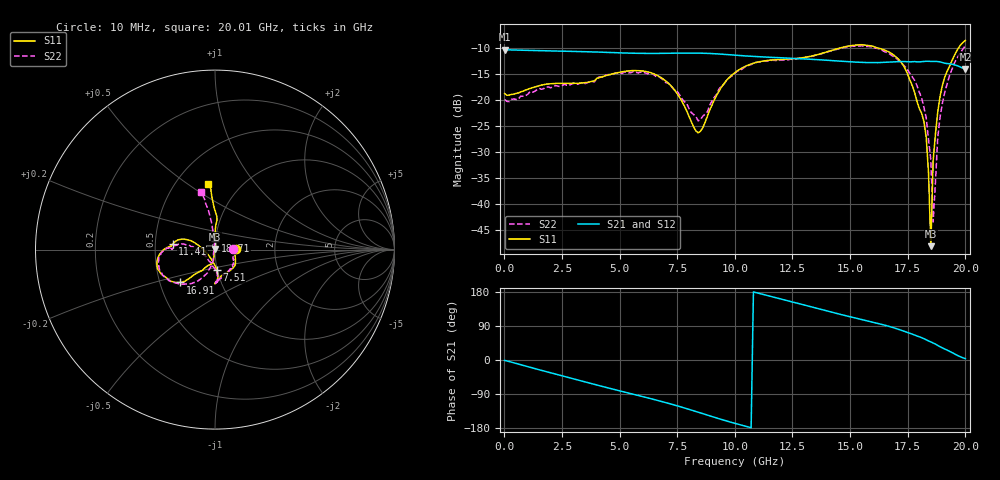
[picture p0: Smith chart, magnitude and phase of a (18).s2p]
! Hittite Microwave Corporation
! 2 Elizabeth Drive
! Chelmsford, MA 01824
! http://www.hittite.com
! Tel: 978-250-3343
! Fax: 978-250-3373
! Device:  HMC424LP3
! Description: 0.5 dB GaAs MMIC 6-Bit Digital Attenuator
! Frequency:  DC -  13.00 GHz
! Package:  LP3  - 3x3 mm Quad Flatpack No-Lead (QFN) Plastic Package: 16 pin
! Ports:  2 RF, 7 DC
!  Pad  1  = Ground
!  Pad  2  = RF IN  = Port 1
!  Pad  3  = Ground
!  Pad  4  = V6
!  Pad  5  = V5
!  Pad  6  = V4
!  Pad  7  = V3
!  Pad  8  = V2
!  Pad  9  = V1
!  Pad 10  = Ground
!  Pad 11  = RF OUT  = Port 2
!  Pad 12  = Ground
!  Pad 15  = VEE
! Control:  -5 Volt control voltage
! State:  16
! Attenuation:  8.0 dB
! Voltages:  Vdd = -5.00 Volts  Idd =  -2.304 mA
!  V1  = 0.00 Volts  I1  =  29.0 uA
!  V2  = 0.00 Volts  I2  =  29.0 uA
!  V3  = 0.00 Volts  I3  =  29.0 uA
!  V4  = 0.00 Volts  I4  =  30.0 uA
!  V5  = -5.00 Volts  I5  =  -1.0 uA
!  V6  = 0.00 Volts  I6  =  30.0 uA
! Data:  The device was measured on evaluation board 105354-1.
!  Data was collected using a calibrated network analyzer.
!  The evaluation circuit board was modeled and simulated.  This was use
!  to removed the evaluation board circuit from the measured data.
!  The reference plane is the edge of the package pin.
! Misc:  Lot xxxx, Unit 1
!  Application 20120001, Data collected in Application 20090083
! Date Measured:  2009-09-15
! Date:  2012-05-14  MJV
! Note:
!  Hittite supplies this data as a sample of measured data at the package pin
!  for this product.  Your particular data for this product may vary.
!  Data was taken at 25 degrees C.
!  Hittite reserves the right to change this data at anytime.
# GHz S MA R 50
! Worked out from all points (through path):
!   201 points, 10 MHz to 20.01 GHz, reference 50 ohm
!   highest |S21| = -10.39 dB at 10 MHz (marker M1); lowest = -14.1 dB at 20.01 GHz (marker M2)
!   group delay of S21, straight-line fit = 46.8 ps
!   lowest |S11| = -48.1 dB at 18.51 GHz (marker M3), VSWR 1.01, Z = 50.1 + j0.373 ohm
!   |S11| at or under -10 dB: start of sweep to 14.64 GHz; 16.15 GHz to 19.72 GHz (3.568 GHz wide, 19.9 % of centre)
!   |S22| runs from -43.5 to -9.7 dB; largest |S21 - S12| = 0.00089
!   S11 on the Smith chart (normalised r, x): 10 MHz: 1.26, +0.01; 7.51 GHz: 0.99, -0.23; 11.41 GHz: 0.62, +0.04; 16.91 GHz: 0.64, -0.25; 18.71 GHz: 1.00, +0.09; 20.01 GHz: 0.71, +0.61
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0.01  0.1144 1.6  0.3023 -0.9  0.3025 -1.1  0.1003 2.3
3.41  0.145 -66.2  0.2893 -56.4  0.2887 -56.4  0.1461 -64.5
5.51  0.19 -90.3  0.2795 -89.1  0.279 -89.1  0.1824 -89.1
6.71  0.1674 -85.0  0.2783 -107.6  0.2777 -107.6  0.1656 -85.3
7.51  0.1133 -85.1  0.2799 -121.0  0.2794 -121.0  0.1196 -89.2
8.41  0.04806 -139.4  0.2795 -137.6  0.279 -137.6  0.06262 -131.6
10.01  0.1821 161.3  0.2676 -167.3  0.2671 -167.3  0.1796 169.8
11.41  0.2382 172.7  0.256 170.3  0.2556 170.3  0.2354 178.8
13.41  0.2644 177.2  0.2436 138.7  0.243 138.7  0.2622 178.1
15.11  0.3315 -167.2  0.2303 112.5  0.2299 112.6  0.3261 -166.1
16.71  0.2859 -140.2  0.2296 88.5  0.2292 88.6  0.2754 -135.8
16.91  0.2672 -136.8  0.231 84.9  0.2306 84.9  0.2568 -131.5
17.81  0.116 -119.0  0.2321 65.8  0.2317 65.8  0.1527 -111.3
18.21  0.0617 -98.1  0.2335 56.4  0.233 56.4  0.08425 -103.0
18.31  0.04347 -98.9  0.2338 53.4  0.2334 53.5  0.06669 -99.6
18.41  0.01982 -101.3  0.2337 50.3  0.2333 50.4  0.04128 -101.0
18.51  0.003922 71.4  0.2327 47.7  0.2324 47.7  0.02645 -109.6
18.61  0.02588 82.5  0.2328 44.9  0.2325 45.0  0.006703 -141.3
18.71  0.04675 86.9  0.2331 41.9  0.2327 42.0  0.01604 106.0
18.81  0.07621 87.8  0.2322 38.5  0.2318 38.5  0.04359 93.5
19.11  0.1637 86.1  0.2239 29.1  0.2235 29.1  0.1166 96.8
20.01  0.3703 96.0  0.1974 3.4  0.1972 3.5  0.3292 103.9
